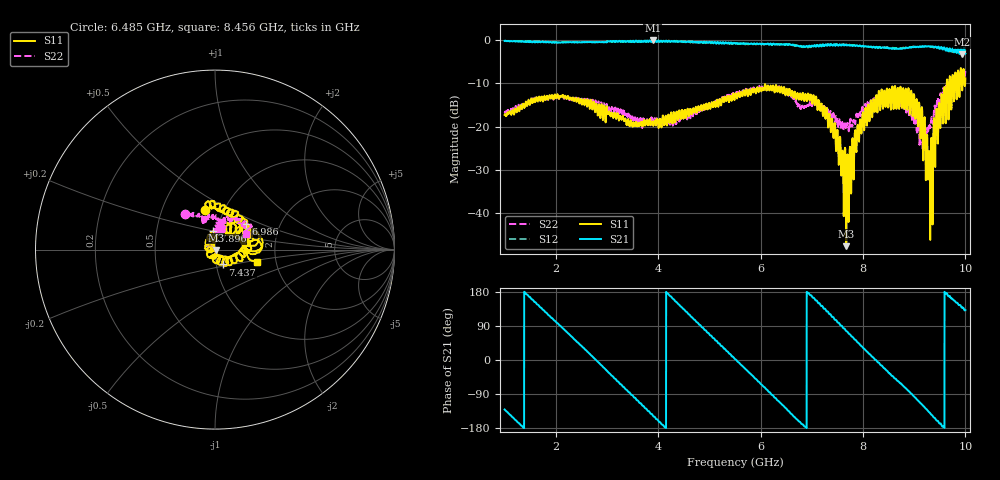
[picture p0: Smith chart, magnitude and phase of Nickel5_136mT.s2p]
#  HZ  S  RI  R  50.0
! Rohde & Schwarz ZVL13 2Ports - Version 3.31 - 1303.6509k13 SN: 101088
! Date: 2023-03-09 14:14:41
! Data & Calibration Information:
! Trc4:S11(TOSM) Trc2:S21(TOSM) Trc3:S12(TOSM) Trc5:S22(TOSM)
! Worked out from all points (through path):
!   4000 points, 1 GHz to 10 GHz, reference 50 ohm
!   highest |S21| = -0.13 dB at 3.892 GHz (marker M1); lowest = -3.3 dB at 9.941 GHz (marker M2)
!   group delay of S21, straight-line fit = 365 ps
!   lowest |S11| = -47.6 dB at 7.673 GHz (marker M3), VSWR 1.01, Z = 50.4 - j0.188 ohm
!   |S11| at or under -10 dB: start of sweep to 9.636 GHz; 9.652688 GHz to 9.687516 GHz (34.83 MHz wide, 0.36 % of centre); 9.709513 GHz to 9.740005 GHz (30.49 MHz wide, 0.314 % of centre)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
!   |S22| runs from -25.6 to -7.2 dB; largest |S21 - S12| = 0.076
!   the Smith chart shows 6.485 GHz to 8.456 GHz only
!   S11 on the Smith chart (normalised r, x): 6.485 GHz: 0.82, +0.38; 6.986 GHz: 1.35, +0.40; 7.437 GHz: 1.08, -0.18; 7.896 GHz: 0.96, +0.20; 8.456 GHz: 1.60, -0.23
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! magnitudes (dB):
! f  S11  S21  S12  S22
! 1 GHz  -17.3  -0.2  -0.2  -16.8
! 1.695 GHz  -14.1  -0.5  -0.4  -13.7
! 2.501 GHz  -14.5  -0.5  -0.6  -13.7
! 3.892 GHz  -19.2  -0.1  -0.2  -19.3
! 4 GHz  -19.4  -0.2  -0.2  -19.4
! 5.501 GHz  -13.2  -0.8  -0.9  -12.5
! 6.485 GHz  -12.8  -1.1  -1.1  -11.7
! 6.986 GHz  -13.0  -1.5  -1.6  -14.8
! 7 GHz  -14.3  -1.3  -1.4  -15.2
! 7.437 GHz  -20.6  -1.0  -1.2  -17.6
! 7.673 GHz  -47.6  -1.2  -1.0  -20.2
! 7.896 GHz  -19.6  -1.4  -1.3  -17.9
! 8.128 GHz  -18.5  -1.6  -1.6  -15.5
! 8.456 GHz  -12.2  -1.8  -1.8  -14.2
! 8.501 GHz  -14.3  -1.9  -2.0  -13.3
! 9.019 GHz  -18.1  -1.6  -1.6  -18.5
! 9.197 GHz  -18.1  -1.6  -1.5  -20.7
! 9.318 GHz  -32.2  -1.5  -1.6  -20.2
! 9.413 GHz  -27.1  -1.5  -1.7  -16.1
! 9.561 GHz  -19.2  -2.2  -2.0  -11.9
! 9.941 GHz  -11.1  -3.3  -2.6  -7.8
! 10 GHz  -8.9  -3.2  -2.7  -7.2
